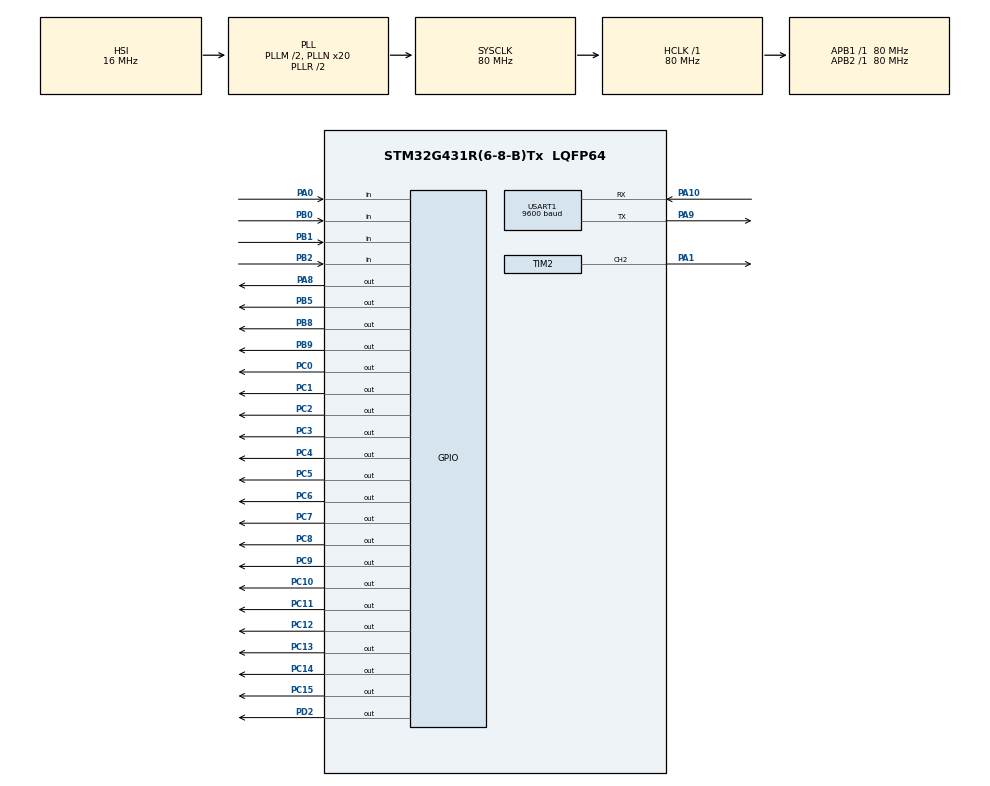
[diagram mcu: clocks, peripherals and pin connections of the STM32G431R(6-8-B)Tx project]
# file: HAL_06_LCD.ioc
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Mcu.Family=STM32G4
Mcu.Name=STM32G431R(6-8-B)Tx
Mcu.Package=LQFP64
NVIC.PriorityGroup=NVIC_PRIORITYGROUP_4
NVIC.USART1_IRQn=true\:0\:0\:false\:false\:true\:true\:true\:true
PA0.Signal=GPIO_Input
PA1.Signal=S_TIM2_CH2
PA10.Mode=Asynchronous
PA10.Signal=USART1_RX
PA8.Signal=GPIO_Output
PA9.Mode=Asynchronous
PA9.Signal=USART1_TX
PB0.Signal=GPIO_Input
PB1.Signal=GPIO_Input
PB2.Signal=GPIO_Input
PB5.Signal=GPIO_Output
PB8-BOOT0.Signal=GPIO_Output
PB9.Signal=GPIO_Output
PC0.Signal=GPIO_Output
PC1.Signal=GPIO_Output
PC10.Signal=GPIO_Output
PC11.Signal=GPIO_Output
PC12.Signal=GPIO_Output
PC13.Signal=GPIO_Output
PC14-OSC32_IN.Signal=GPIO_Output
PC15-OSC32_OUT.Signal=GPIO_Output
PC2.Signal=GPIO_Output
PC3.Signal=GPIO_Output
PC4.Signal=GPIO_Output
PC5.Signal=GPIO_Output
PC6.Signal=GPIO_Output
PC7.Signal=GPIO_Output
PC8.Signal=GPIO_Output
PC9.Signal=GPIO_Output
PD2.Signal=GPIO_Output
PF0-OSC_IN.Mode=HSE-External-Oscillator
PF0-OSC_IN.Signal=RCC_OSC_IN
PF1-OSC_OUT.Mode=HSE-External-Oscillator
PF1-OSC_OUT.Signal=RCC_OSC_OUT
ProjectManager.HeapSize=0x200
ProjectManager.StackSize=0x400
ProjectManager.TargetToolchain=MDK-ARM V5.27
RCC.ADC12Freq_Value=80000000
RCC.AHBFreq_Value=80000000
RCC.APB1Freq_Value=80000000
RCC.APB1TimFreq_Value=80000000
RCC.APB2Freq_Value=80000000
RCC.APB2TimFreq_Value=80000000
RCC.CortexFreq_Value=80000000
RCC.EXTERNAL_CLOCK_VALUE=12288000
RCC.HCLKFreq_Value=80000000
RCC.HSE_VALUE=24000000
RCC.HSI48_VALUE=48000000
RCC.HSI_VALUE=16000000
RCC.LSE_VALUE=32768
RCC.PLLM=RCC_PLLM_DIV2
RCC.PLLN=20
RCC.SYSCLKFreq_VALUE=80000000
RCC.SYSCLKSource=RCC_SYSCLKSOURCE_PLLCLK
RCC.USBFreq_Value=80000000
RCC.VCOOutputFreq_Value=160000000
SH.S_TIM2_CH2.0=TIM2_CH2,PWM Generation2 CH2
TIM2.Channel-PWM\ Generation2\ CH2=TIM_CHANNEL_2
TIM2.PeriodNoDither=1000
TIM2.Prescaler=79
TIM2.PulseNoDither_2=500
USART1.BaudRate=9600
USART1.VirtualMode-Asynchronous=VM_ASYNC
VP_SYS_VS_DBSignals.Mode=DisableDeadBatterySignals
board=custom

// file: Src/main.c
/* USER CODE BEGIN Header */
/**
  ******************************************************************************
  * @file           : main.c
  * @brief          : Main program body
  ******************************************************************************
  * @attention
  *
  * <h2><center>&copy; Copyright (c) 2021 STMicroelectronics.
  * All rights reserved.</center></h2>
  *
  * This software component is licensed by ST under BSD 3-Clause license,
  * the "License"; You may not use this file except in compliance with the
  * License. You may obtain a copy of the License at:
  *                        opensource.org/licenses/BSD-3-Clause
  *作者：鹏老师
	*时间：2023.3.29
	*CSDN：我是鹏老师
	*Bilibili：我是鹏老师
	*新版(G431)蓝桥杯嵌入式开发板，只卖199
  ******************************************************************************
  */
/* USER CODE END Header */

#include "main.h"

/* USER CODE BEGIN Includes */
#include "stdio.h"
/* USER CODE END Includes */

TIM_HandleTypeDef htim2;

UART_HandleTypeDef huart1;

void SystemClock_Config(void);
static void MX_GPIO_Init(void);
static void MX_TIM2_Init(void);
static void MX_USART1_UART_Init(void);

/* USER CODE BEGIN 0 */
int PSD_B1 = 1; //密码第一位
int PSD_B2 = 2; //密码第二位
int PSD_B3 = 3; //密码第三位

int LD1 = 0; //记录LD1亮灭状态(在stm32g4xx_it.c 文件 SysTick_Handler 函数中使用)
int LD2_Flag = 0; //用来便捷LD2是否要闪烁(在stm32g4xx_it.c 文件 SysTick_Handler 函数中使用)

uint8_t Key_Scan(void) //按键扫描函数
{
	if(HAL_GPIO_ReadPin(GPIOB, GPIO_PIN_0) == 0) //PB0 （按键B1）被按下
	{
		HAL_Delay(10);//延时消抖
		if(HAL_GPIO_ReadPin(GPIOB, GPIO_PIN_0) == 0)
		{
			while(HAL_GPIO_ReadPin(GPIOB, GPIO_PIN_0) == 0); //等待按键抬起
			return 1;//返回1
		}
	}

	if(HAL_GPIO_ReadPin(GPIOB, GPIO_PIN_1) == 0) //PB1 （按键B2）被按下
	{
		HAL_Delay(10);//延时消抖
		if(HAL_GPIO_ReadPin(GPIOB, GPIO_PIN_1) == 0)
		{
			while(HAL_GPIO_ReadPin(GPIOB, GPIO_PIN_1) == 0); //等待按键抬起
			return 2;//返回2
		}
	}

	if(HAL_GPIO_ReadPin(GPIOB, GPIO_PIN_2) == 0) //PB2 （按键B3）被按下
	{
		HAL_Delay(10);//延时消抖
		if(HAL_GPIO_ReadPin(GPIOB, GPIO_PIN_2) == 0)
		{
			while(HAL_GPIO_ReadPin(GPIOB, GPIO_PIN_2) == 0); //等待按键抬起
			return 3; //返回3
		}
	}

	if(HAL_GPIO_ReadPin(GPIOA, GPIO_PIN_0) == 0) //PA0 （按键B4）被按下
	{
		HAL_Delay(10);//延时消抖
		if(HAL_GPIO_ReadPin(GPIOA, GPIO_PIN_0) == 0)
		{
			while(HAL_GPIO_ReadPin(GPIOA, GPIO_PIN_0) == 0); //等待按键抬起
			return 4; //返回4
		}
	}

	return 0; //没有按键按下返回0
}

uint8_t uart_rx_buf[128]; //串口接收数据缓冲区
//串口中断回调函数
void HAL_UART_RxCpltCallback(UART_HandleTypeDef *huart)
{
	if((uart_rx_buf[0] - 0x30) == PSD_B1 && (uart_rx_buf[1] - 0x30) == PSD_B2 && (uart_rx_buf[2] - 0x30) == PSD_B3) //如果旧密码正确
	{
		//则修改密码
		PSD_B1 = uart_rx_buf[4] - 0x30;
		PSD_B2 = uart_rx_buf[5] - 0x30;
		PSD_B3 = uart_rx_buf[6] - 0x30;
	}

	HAL_UART_Receive_IT(&huart1, uart_rx_buf, 7); //设置串口中断缓冲区及中断阈值(当前为7)
}
/* USER CODE END 0 */

int main(void)
{

  /* MCU Configuration--------------------------------------------------------*/

  /* Reset of all peripherals, Initializes the Flash interface and the Systick. */
  HAL_Init();

  /* Configure the system clock */
  SystemClock_Config();

  /* Initialize all configured peripherals */
  MX_GPIO_Init();
  MX_TIM2_Init();
  MX_USART1_UART_Init();
  /* USER CODE BEGIN 2 */

    LCD_Init();
  /* USER CODE END 2 */

  /* Infinite loop */
  /* USER CODE BEGIN WHILE */

    LCD_Clear(Black);
    LCD_SetBackColor(Black);
    LCD_SetTextColor(White);

		HAL_GPIO_WritePin(GPIOC, GPIO_PIN_All , 1);
		HAL_GPIO_WritePin(GPIOD, GPIO_PIN_2 , 1);
		HAL_GPIO_WritePin(GPIOD, GPIO_PIN_2 , 0);

		HAL_TIM_PWM_Start_IT(&htim2, TIM_CHANNEL_2);//启动定时器2通道2的PWM输出

		HAL_UART_Receive_IT(&huart1, uart_rx_buf, 7); //设置串口中断缓冲区及中断阈值(当前为7)

		int Key_Value = 0;

		int B1 = -1;
		int B2 = -1;
		int B3 = -1;

		int Error_Time = 0;

		char buf[32] = { 0 };

    while (1)
    {
				Key_Value = Key_Scan();

				LCD_DisplayStringLine(Line1, (unsigned char *)"       PSD        ");

				if(B1 == -1)
				{
					LCD_DisplayStringLine(Line3, (unsigned char *)"    B1:@          ");
				}
				else
				{
					sprintf(buf, "    B1:%d          ", B1);
					LCD_DisplayStringLine(Line3, (unsigned char *)buf);
				}

				if(B2 == -1)
				{
					LCD_DisplayStringLine(Line4, (unsigned char *)"    B2:@          ");
				}
				else
				{
					sprintf(buf, "    B2:%d          ", B2);
					LCD_DisplayStringLine(Line4, (unsigned char *)buf);
				}

				if(B3 == -1)
				{
					LCD_DisplayStringLine(Line5, (unsigned char *)"    B3:@          ");
				}
				else
				{
					sprintf(buf, "    B3:%d          ", B3);
					LCD_DisplayStringLine(Line5, (unsigned char *)buf);
				}

				if(Key_Value == 1) //按键B1被按下
				{
					B1++;
					if(B1 == 10) B1 = 0;
				}

				if(Key_Value == 2) //按键B2被按下
				{
					B2++;
					if(B2 == 10) B2 = 0;
				}

				if(Key_Value == 3) //按键B3被按下
				{
					B3++;
					if(B3 == 10) B3 = 0;
				}

				if(Key_Value == 4) //按键B4被按下
				{
					//验证密码， 如果密码正取则切换页面
					if(B1 == PSD_B1 && B2 == PSD_B2 && B3 == PSD_B3) //密码正确
					{
						Error_Time = 0; // 输错次数清零

						//显示状态信息
						LCD_DisplayStringLine(Line1, (unsigned char *)"       STA        ");

					  LCD_DisplayStringLine(Line3, (unsigned char *)"    F:2000Hz      ");
					  LCD_DisplayStringLine(Line4, (unsigned char *)"    D:10%         ");
					  LCD_DisplayStringLine(Line5, (unsigned char *)"                  ");

						htim2.Init.Period = 500;
						HAL_TIM_Base_Init(&htim2);//频率设为2000Hz
						__HAL_TIM_SetCompare(&htim2, TIM_CHANNEL_2, 50);  //  50/500 = 10%

						//LD1 亮
						HAL_GPIO_WritePin(GPIOC, GPIO_PIN_All , 1);
						HAL_GPIO_WritePin(GPIOC, GPIO_PIN_8 , 0);
						HAL_GPIO_WritePin(GPIOD, GPIO_PIN_2 , 1);
						HAL_GPIO_WritePin(GPIOD, GPIO_PIN_2 , 0);
						LD1 = 1;	//防止LD2闪烁时哪LD1关掉

						HAL_Delay(5000); //演示5S

						htim2.Init.Period = 1000;
						HAL_TIM_Base_Init(&htim2);//频率设为1000Hz
						__HAL_TIM_SetCompare(&htim2, TIM_CHANNEL_2, 500);  //  500/1000 = 50%

						//LD1 灭
						HAL_GPIO_WritePin(GPIOC, GPIO_PIN_All , 1);
						HAL_GPIO_WritePin(GPIOD, GPIO_PIN_2 , 1);
						HAL_GPIO_WritePin(GPIOD, GPIO_PIN_2 , 0);
						LD1 = 0;

						B1 = -1;
						B2 = -1;
						B3 = -1;
					}
					else //密码错误
					{
						B1 = -1; //将密码重置为@
						B2 = -1;
						B3 = -1;

						Error_Time ++;

						if(Error_Time > 2) //密码错误三次及以上
						{
							//LED2 0.1秒闪烁
							LD2_Flag = 1;//在stm32g4xx_it.c 文件 SysTick_Handler 函数中使用执行闪烁
						}
					}
				}

    /* USER CODE END WHILE */

    }
}

void SystemClock_Config(void)
{
  RCC_OscInitTypeDef RCC_OscInitStruct = {0};
  RCC_ClkInitTypeDef RCC_ClkInitStruct = {0};
  RCC_PeriphCLKInitTypeDef PeriphClkInit = {0};

  /** Configure the main internal regulator output voltage
  */
  HAL_PWREx_ControlVoltageScaling(PWR_REGULATOR_VOLTAGE_SCALE1);
  /** Initializes the CPU, AHB and APB busses clocks
  */
  RCC_OscInitStruct.OscillatorType = RCC_OSCILLATORTYPE_HSI;
  RCC_OscInitStruct.HSIState = RCC_HSI_ON;
  RCC_OscInitStruct.HSICalibrationValue = RCC_HSICALIBRATION_DEFAULT;
  RCC_OscInitStruct.PLL.PLLState = RCC_PLL_ON;
  RCC_OscInitStruct.PLL.PLLSource = RCC_PLLSOURCE_HSI;
  RCC_OscInitStruct.PLL.PLLM = RCC_PLLM_DIV2;
  RCC_OscInitStruct.PLL.PLLN = 20;
  RCC_OscInitStruct.PLL.PLLP = RCC_PLLP_DIV2;
  RCC_OscInitStruct.PLL.PLLQ = RCC_PLLQ_DIV2;
  RCC_OscInitStruct.PLL.PLLR = RCC_PLLR_DIV2;
  if (HAL_RCC_OscConfig(&RCC_OscInitStruct) != HAL_OK)
  {
    Error_Handler();
  }
  /** Initializes the CPU, AHB and APB busses clocks
  */
  RCC_ClkInitStruct.ClockType = RCC_CLOCKTYPE_HCLK|RCC_CLOCKTYPE_SYSCLK
                              |RCC_CLOCKTYPE_PCLK1|RCC_CLOCKTYPE_PCLK2;
  RCC_ClkInitStruct.SYSCLKSource = RCC_SYSCLKSOURCE_PLLCLK;
  RCC_ClkInitStruct.AHBCLKDivider = RCC_SYSCLK_DIV1;
  RCC_ClkInitStruct.APB1CLKDivider = RCC_HCLK_DIV1;
  RCC_ClkInitStruct.APB2CLKDivider = RCC_HCLK_DIV1;

  if (HAL_RCC_ClockConfig(&RCC_ClkInitStruct, FLASH_LATENCY_3) != HAL_OK)
  {
    Error_Handler();
  }
  /** Initializes the peripherals clocks
  */
  PeriphClkInit.PeriphClockSelection = RCC_PERIPHCLK_USART1;
  PeriphClkInit.Usart1ClockSelection = RCC_USART1CLKSOURCE_PCLK2;
  if (HAL_RCCEx_PeriphCLKConfig(&PeriphClkInit) != HAL_OK)
  {
    Error_Handler();
  }
}

static void MX_TIM2_Init(void)
{

  TIM_MasterConfigTypeDef sMasterConfig = {0};
  TIM_OC_InitTypeDef sConfigOC = {0};

  htim2.Instance = TIM2;
  htim2.Init.Prescaler = 79;
  htim2.Init.CounterMode = TIM_COUNTERMODE_UP;
  htim2.Init.Period = 1000;
  htim2.Init.ClockDivision = TIM_CLOCKDIVISION_DIV1;
  htim2.Init.AutoReloadPreload = TIM_AUTORELOAD_PRELOAD_DISABLE;
  if (HAL_TIM_PWM_Init(&htim2) != HAL_OK)
  {
    Error_Handler();
  }
  sMasterConfig.MasterOutputTrigger = TIM_TRGO_RESET;
  sMasterConfig.MasterSlaveMode = TIM_MASTERSLAVEMODE_DISABLE;
  if (HAL_TIMEx_MasterConfigSynchronization(&htim2, &sMasterConfig) != HAL_OK)
  {
    Error_Handler();
  }
  sConfigOC.OCMode = TIM_OCMODE_PWM1;
  sConfigOC.Pulse = 500;
  sConfigOC.OCPolarity = TIM_OCPOLARITY_HIGH;
  sConfigOC.OCFastMode = TIM_OCFAST_DISABLE;
  if (HAL_TIM_PWM_ConfigChannel(&htim2, &sConfigOC, TIM_CHANNEL_2) != HAL_OK)
  {
    Error_Handler();
  }
  HAL_TIM_MspPostInit(&htim2);

}

static void MX_USART1_UART_Init(void)
{

  huart1.Instance = USART1;
  huart1.Init.BaudRate = 9600;
  huart1.Init.WordLength = UART_WORDLENGTH_8B;
  huart1.Init.StopBits = UART_STOPBITS_1;
  huart1.Init.Parity = UART_PARITY_NONE;
  huart1.Init.Mode = UART_MODE_TX_RX;
  huart1.Init.HwFlowCtl = UART_HWCONTROL_NONE;
  huart1.Init.OverSampling = UART_OVERSAMPLING_16;
  huart1.Init.OneBitSampling = UART_ONE_BIT_SAMPLE_DISABLE;
  huart1.Init.ClockPrescaler = UART_PRESCALER_DIV1;
  huart1.AdvancedInit.AdvFeatureInit = UART_ADVFEATURE_NO_INIT;
  if (HAL_UART_Init(&huart1) != HAL_OK)
  {
    Error_Handler();
  }
  if (HAL_UARTEx_SetTxFifoThreshold(&huart1, UART_TXFIFO_THRESHOLD_1_8) != HAL_OK)
  {
    Error_Handler();
  }
  if (HAL_UARTEx_SetRxFifoThreshold(&huart1, UART_RXFIFO_THRESHOLD_1_8) != HAL_OK)
  {
    Error_Handler();
  }
  if (HAL_UARTEx_DisableFifoMode(&huart1) != HAL_OK)
  {
    Error_Handler();
  }

}

static void MX_GPIO_Init(void)
{
  GPIO_InitTypeDef GPIO_InitStruct = {0};

  /* GPIO Ports Clock Enable */
  __HAL_RCC_GPIOC_CLK_ENABLE();
  __HAL_RCC_GPIOF_CLK_ENABLE();
  __HAL_RCC_GPIOA_CLK_ENABLE();
  __HAL_RCC_GPIOB_CLK_ENABLE();
  __HAL_RCC_GPIOD_CLK_ENABLE();

  /*Configure GPIO pin Output Level */
  HAL_GPIO_WritePin(GPIOC, GPIO_PIN_13|GPIO_PIN_14|GPIO_PIN_15|GPIO_PIN_0
                          |GPIO_PIN_1|GPIO_PIN_2|GPIO_PIN_3|GPIO_PIN_4
                          |GPIO_PIN_5|GPIO_PIN_6|GPIO_PIN_7|GPIO_PIN_8
                          |GPIO_PIN_9|GPIO_PIN_10|GPIO_PIN_11|GPIO_PIN_12, GPIO_PIN_RESET);

  /*Configure GPIO pin Output Level */
  HAL_GPIO_WritePin(GPIOA, GPIO_PIN_8, GPIO_PIN_RESET);

  /*Configure GPIO pin Output Level */
  HAL_GPIO_WritePin(GPIOD, GPIO_PIN_2, GPIO_PIN_RESET);

  /*Configure GPIO pin Output Level */
  HAL_GPIO_WritePin(GPIOB, GPIO_PIN_5|GPIO_PIN_8|GPIO_PIN_9, GPIO_PIN_RESET);

  /*Configure GPIO pins : PC13 PC14 PC15 PC0
                           PC1 PC2 PC3 PC4
                           PC5 PC6 PC7 PC8
                           PC9 PC10 PC11 PC12 */
  GPIO_InitStruct.Pin = GPIO_PIN_13|GPIO_PIN_14|GPIO_PIN_15|GPIO_PIN_0
                          |GPIO_PIN_1|GPIO_PIN_2|GPIO_PIN_3|GPIO_PIN_4
                          |GPIO_PIN_5|GPIO_PIN_6|GPIO_PIN_7|GPIO_PIN_8
                          |GPIO_PIN_9|GPIO_PIN_10|GPIO_PIN_11|GPIO_PIN_12;
  GPIO_InitStruct.Mode = GPIO_MODE_OUTPUT_PP;
  GPIO_InitStruct.Pull = GPIO_NOPULL;
  GPIO_InitStruct.Speed = GPIO_SPEED_FREQ_LOW;
  HAL_GPIO_Init(GPIOC, &GPIO_InitStruct);

  /*Configure GPIO pin : PA0 */
  GPIO_InitStruct.Pin = GPIO_PIN_0;
  GPIO_InitStruct.Mode = GPIO_MODE_INPUT;
  GPIO_InitStruct.Pull = GPIO_NOPULL;
  HAL_GPIO_Init(GPIOA, &GPIO_InitStruct);

  /*Configure GPIO pins : PB0 PB1 PB2 */
  GPIO_InitStruct.Pin = GPIO_PIN_0|GPIO_PIN_1|GPIO_PIN_2;
  GPIO_InitStruct.Mode = GPIO_MODE_INPUT;
  GPIO_InitStruct.Pull = GPIO_NOPULL;
  HAL_GPIO_Init(GPIOB, &GPIO_InitStruct);

  /*Configure GPIO pin : PA8 */
  GPIO_InitStruct.Pin = GPIO_PIN_8;
  GPIO_InitStruct.Mode = GPIO_MODE_OUTPUT_PP;
  GPIO_InitStruct.Pull = GPIO_NOPULL;
  GPIO_InitStruct.Speed = GPIO_SPEED_FREQ_LOW;
  HAL_GPIO_Init(GPIOA, &GPIO_InitStruct);

  /*Configure GPIO pin : PD2 */
  GPIO_InitStruct.Pin = GPIO_PIN_2;
  GPIO_InitStruct.Mode = GPIO_MODE_OUTPUT_PP;
  GPIO_InitStruct.Pull = GPIO_NOPULL;
  GPIO_InitStruct.Speed = GPIO_SPEED_FREQ_LOW;
  HAL_GPIO_Init(GPIOD, &GPIO_InitStruct);

  /*Configure GPIO pins : PB5 PB8 PB9 */
  GPIO_InitStruct.Pin = GPIO_PIN_5|GPIO_PIN_8|GPIO_PIN_9;
  GPIO_InitStruct.Mode = GPIO_MODE_OUTPUT_PP;
  GPIO_InitStruct.Pull = GPIO_NOPULL;
  GPIO_InitStruct.Speed = GPIO_SPEED_FREQ_LOW;
  HAL_GPIO_Init(GPIOB, &GPIO_InitStruct);

}

void Error_Handler(void)
{
}

/************************ (C) COPYRIGHT STMicroelectronics *****END OF FILE****/
